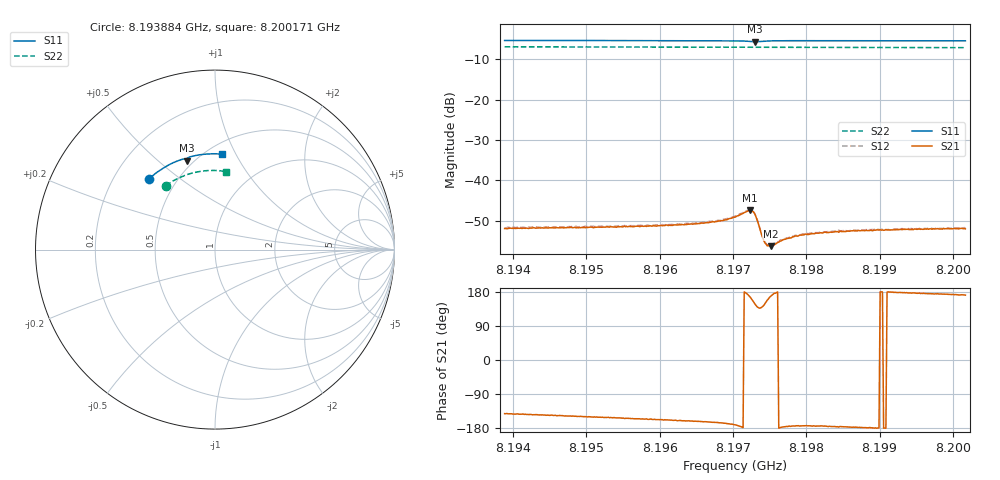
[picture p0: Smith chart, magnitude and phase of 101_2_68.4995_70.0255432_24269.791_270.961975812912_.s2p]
#  HZ  S  RI  R  50.00
! Rohde & Schwarz Vector Network Analyzer
! Rohde-Schwarz,ZNB20-2Port,1311601062101988,3.16
! Created: UTC 3/20/2024, 4:53:04 PM
! freq[Hz]  re:S11  im:S11  re:S21  im:S21  re:S12  im:S12  re:S22  im:S22
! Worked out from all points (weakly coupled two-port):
!   401 points, 8.193884 GHz to 8.200171 GHz, reference 50 ohm
!   highest |S21| = -47.39 dB at 8.197232 GHz (marker M1); lowest = -56.2 dB at 8.197515 GHz (marker M2)
!   lowest |S11| = -5.7 dB at 8.197295 GHz (marker M3), VSWR 3.16, Z = 23 + j31.2 ohm
!   |S11| at or under -10 dB: nowhere
!   |S22| runs from -7.2 to -6.9 dB; largest |S21 - S12| = 0.00021
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8.1938841e9  -0.3696 0.3922  -0.00199 -0.00158  -0.00209 -0.00155  -0.2742 0.3561
8.1949371e9  -0.3115 0.4388  -0.00225 -0.00136  -0.00239 -0.0013  -0.2246 0.3875
8.1959901e9  -0.2474 0.4769  -0.00255 -0.00107  -0.00265 -0.00101  -0.1712 0.412
8.1961944e9  -0.2341 0.4832  -0.00265 -0.000994  -0.0027 -0.000897  -0.1604 0.4159
8.1966345e9  -0.2045 0.4955  -0.00288 -0.000874  -0.00297 -0.000791  -0.1369 0.4235
8.196886e9  -0.1864 0.5018  -0.00317 -0.000736  -0.00326 -0.000657  -0.1232 0.4273
8.1970274e9  -0.1752 0.5044  -0.00347 -0.000557  -0.0036 -0.000416  -0.1155 0.4292
8.1972318e9  -0.1571 0.4999  -0.00415 0.000995  -0.00418 0.00118  -0.1041 0.4313
8.1972632e9  -0.1566 0.4971  -0.0039 0.00156  -0.0039 0.00174  -0.1024 0.4319
8.1972946e9  -0.1578 0.4949  -0.00334 0.002  -0.0033 0.00217  -0.1009 0.4321
8.1973261e9  -0.1602 0.4948  -0.00257 0.00208  -0.00255 0.00224  -0.0992 0.4324
8.1974046e9  -0.1619 0.5016  -0.00153 0.00124  -0.00148 0.00132  -0.0952 0.4333
8.1974361e9  -0.1602 0.5045  -0.00144 0.000883  -0.00143 0.000984  -0.0934 0.4338
8.1974675e9  -0.1582 0.5069  -0.00144 0.000586  -0.00146 0.000653  -0.0916 0.4343
8.1975147e9  -0.1544 0.5097  -0.00151 0.000312  -0.00153 0.000399  -0.089 0.4349
8.1975461e9  -0.152 0.5111  -0.00159 0.000192  -0.00162 0.000261  -0.0873 0.4348
8.1976718e9  -0.1423 0.5153  -0.00182 -9.39e-05  -0.00185 2.66e-06  -0.0804 0.4363
8.1978447e9  -0.1292 0.5192  -0.00204 -0.0002  -0.00209 -0.000127  -0.0706 0.4376
8.1980805e9  -0.1121 0.5234  -0.00218 -0.000206  -0.00224 -0.000125  -0.0573 0.4391
8.1984734e9  -0.084 0.5283  -0.00234 -0.000173  -0.00239 -6.02e-05  -0.0353 0.4407
8.1991335e9  -0.0372 0.533  -0.00244 2.66e-05  -0.00246 0.000151  0.00229 0.4408
8.2001708e9  0.0363 0.5319  -0.0025 0.000387  -0.00252 0.000505  0.0606 0.4349
